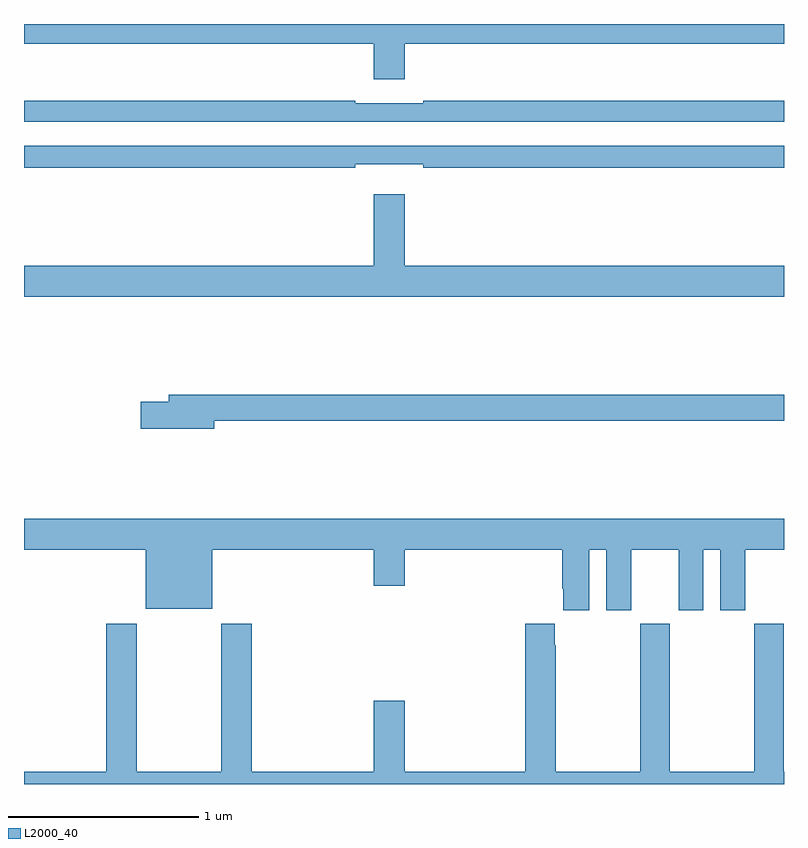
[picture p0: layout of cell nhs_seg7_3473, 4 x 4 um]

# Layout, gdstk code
import gdstk
lib = gdstk.Library(unit=1e-6, precision=1e-09)
def P(c, l, *ps):  # polygons
    for p in ps: c.add(gdstk.Polygon(p, *l))
L2000_40 = (2000, 40)

nhs_seg7_3473 = lib.new_cell('nhs_seg7_3473')
P(nhs_seg7_3473, L2000_40, [(333.004,1053.896),(335,1053.896),(335,1054),(331,1054),(331,1053.896),(332.84,1053.896),(332.84,1053.708),(333.004,1053.708)],
  [(335,1053.595),(333.1,1053.595),(333.1,1053.582),(332.744,1053.582),(332.744,1053.595),(331,1053.595),(331,1053.486),(335,1053.486)],
  [(332.744,1053.263),(333.1,1053.263),(333.1,1053.244),(335,1053.244),(335,1053.36),(331,1053.36),(331,1053.244),(332.744,1053.244)],
  [(335,1052.728),(333.004,1052.728),(333.004,1053.103),(332.84,1053.103),(332.84,1052.728),(331,1052.728),(331,1052.564),(335,1052.564)],
  [(332.002,1051.912),(335,1051.912),(335,1052.048),(331.763,1052.048),(331.763,1052.012),(331.614,1052.012),(331.614,1051.87),(332.002,1051.87)],
  [(333.976,1051.232),(334.064,1051.232),(334.064,1050.915),(334.195,1050.915),(334.195,1051.232),(334.445,1051.232),(334.445,1050.915),(334.576,1050.915),(334.576,1051.232),(334.664,1051.232),(334.664,1050.915),(334.795,1050.915),(334.795,1051.232),(335,1051.232),(335,1051.396),(331,1051.396),(331,1051.232),(331.64,1051.232),(331.64,1050.923),(331.99,1050.923),(331.99,1051.232),(332.84,1051.232),(332.84,1051.044),(333.004,1051.044),(333.004,1051.232),(333.833,1051.232),(333.833,1051.027),(333.839,1051.027),(333.839,1050.915),(333.976,1050.915)],
  [(335,1050.064),(334.998,1050.064),(334.998,1050.844),(334.843,1050.844),(334.843,1050.064),(334.398,1050.064),(334.398,1050.844),(334.243,1050.844),(334.243,1050.064),(333.798,1050.064),(333.798,1050.731),(333.793,1050.731),(333.793,1050.844),(333.638,1050.844),(333.638,1050.064),(333.004,1050.064),(333.004,1050.439),(332.84,1050.439),(332.84,1050.064),(332.198,1050.064),(332.198,1050.844),(332.038,1050.844),(332.038,1050.064),(331.593,1050.064),(331.593,1050.844),(331.433,1050.844),(331.433,1050.064),(331,1050.064),(331,1050),(335,1050)])

lib.write_gds('nhs_seg7_3473.gds')
